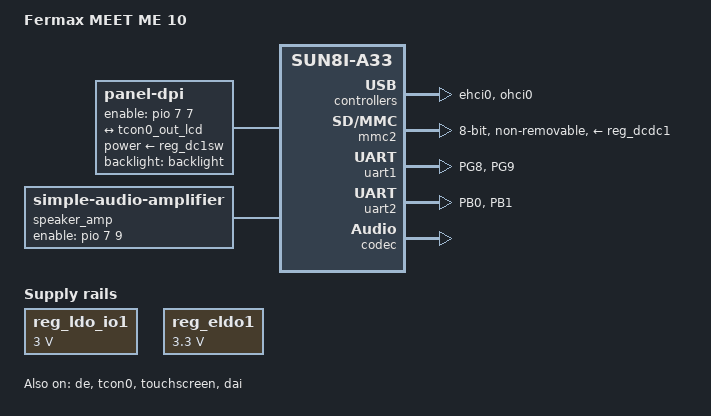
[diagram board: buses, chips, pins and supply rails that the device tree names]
// SPDX-License-Identifier: (GPL-2.0+ OR MIT)
/*
 * Fermax MEET ME 10" monitor (DNAKE v902, board "mio.wit.monitor 10inch")
 * Allwinner A33, 512 MiB DDR3, 4 GB eMMC, AXP223, 1024x600 RGB panel,
 * Silead GSL3680 touch, USB hub (GL850G) with 2x SR9900 Ethernet on usb1.
 */

/dts-v1/;
#include "sun8i-a33.dtsi"
#include "sun8i-reference-design-tablet.dtsi"

/ {
	model = "Fermax MEET ME 10";
	compatible = "fermax,meetme", "allwinner,sun8i-a33";

	aliases {
		serial0 = &r_uart;
		/* Stable names: SD card = mmcblk0, eMMC = mmcblk1 */
		mmc0 = &mmc0;
		mmc1 = &mmc2;
	};

	panel: panel {
		compatible = "panel-dpi";
		data-mapping = "rgb666";
		width-mm = <155>;
		height-mm = <86>;
		backlight = <&backlight>;
		enable-gpios = <&pio 7 7 GPIO_ACTIVE_HIGH>; /* PH7 */
		power-supply = <&reg_dc1sw>;

		/* Timings from the stock sys_config.fex [lcd0_para] */
		panel-timing {
			clock-frequency = <52000000>;
			hactive = <1024>;
			vactive = <600>;
			hfront-porch = <162>;
			hback-porch = <138>;
			hsync-len = <20>;
			vfront-porch = <12>;
			vback-porch = <20>;
			vsync-len = <3>;
			hsync-active = <0>;
			vsync-active = <0>;
			de-active = <1>;
			pixelclk-active = <1>;
		};

		port {
			panel_input: endpoint {
				remote-endpoint = <&tcon0_out_lcd>;
			};
		};
	};
};

&de {
	status = "okay";
};

&tcon0 {
	pinctrl-names = "default";
	pinctrl-0 = <&lcd_rgb666_pins>;
	status = "okay";
};

&tcon0_out {
	tcon0_out_lcd: endpoint@0 {
		reg = <0>;
		remote-endpoint = <&panel_input>;
	};
};

/* USB host to the I/O board: GL850G hub + 2x SR9900 Ethernet */
&ehci0 {
	status = "okay";
};

&ohci0 {
	status = "okay";
};

&usbphy {
	usb1_vbus-supply = <&reg_dldo1>;
};

&mmc2 {
	pinctrl-names = "default";
	pinctrl-0 = <&mmc2_8bit_pins>;
	vmmc-supply = <&reg_dcdc1>;
	bus-width = <8>;
	non-removable;
	cap-mmc-hw-reset;
	status = "okay";
};

&touchscreen {
	compatible = "silead,gsl3680", "silead,gsl1680";
	firmware-name = "gsl3680-fermax-meetme.fw";
	/* Raw range measured by touching the corners; axes already match the panel */
	touchscreen-size-x = <1780>;
	touchscreen-size-y = <1024>;
	vddio-supply = <&reg_ldo_io1>;
	status = "okay";
};

/* Stock: ctp_power_ldo = axp22_ldoio1 @ 3.0 V, kept on while Android runs */
&reg_ldo_io1 {
	regulator-always-on;
	regulator-min-microvolt = <3000000>;
	regulator-max-microvolt = <3000000>;
};

/* Stock firmware powers eldo1 ("wifi_power", 3.3 V at runtime); dldo1 is off there */
&reg_dldo1 {
	regulator-always-on;
};

&reg_eldo1 {
	regulator-always-on;
	regulator-min-microvolt = <3300000>;
	regulator-max-microvolt = <3300000>;
	regulator-name = "vcc-usb-hub";
};

/* UARTs used by stock firmware to talk to the I/O-board MCU (APM32F030) */
&pio {
	uart1_pg_rts_cts_pins: uart1-pg-rts-cts-pins {
		pins = "PG8", "PG9";
		function = "uart1";
	};

	uart2_pb_pins: uart2-pb-pins {
		pins = "PB0", "PB1";
		function = "uart2";
	};
};

&uart1 {
	pinctrl-names = "default";
	pinctrl-0 = <&uart1_pg_pins>, <&uart1_pg_rts_cts_pins>;
	status = "okay";
};

&uart2 {
	pinctrl-names = "default";
	pinctrl-0 = <&uart2_pb_pins>;
	status = "okay";
};

/ {
	/* Speaker amplifier fed from the headphone output, enabled by PH9 (stock: audio_pa_ctrl) */
	speaker_amp: audio-amplifier {
		compatible = "simple-audio-amplifier";
		enable-gpios = <&pio 7 9 GPIO_ACTIVE_HIGH>; /* PH9 */
		sound-name-prefix = "Speaker Amp";
	};
};

&codec {
	status = "okay";
};

&dai {
	status = "okay";
};

&sound {
	simple-audio-card,aux-devs = <&codec_analog>, <&speaker_amp>;
	simple-audio-card,widgets = "Microphone", "Internal Microphone",
				    "Speaker", "Internal Speaker";
	simple-audio-card,routing =
		"Left DAC", "DACL",
		"Right DAC", "DACR",
		"ADCL", "Left ADC",
		"ADCR", "Right ADC",
		"HP", "HPCOM",
		"Speaker Amp INL", "HP",
		"Speaker Amp INR", "HP",
		"Internal Speaker", "Speaker Amp OUTL",
		"Internal Speaker", "Speaker Amp OUTR",
		"MIC1", "Internal Microphone",
		"Internal Microphone", "MBIAS";
	status = "okay";
};
